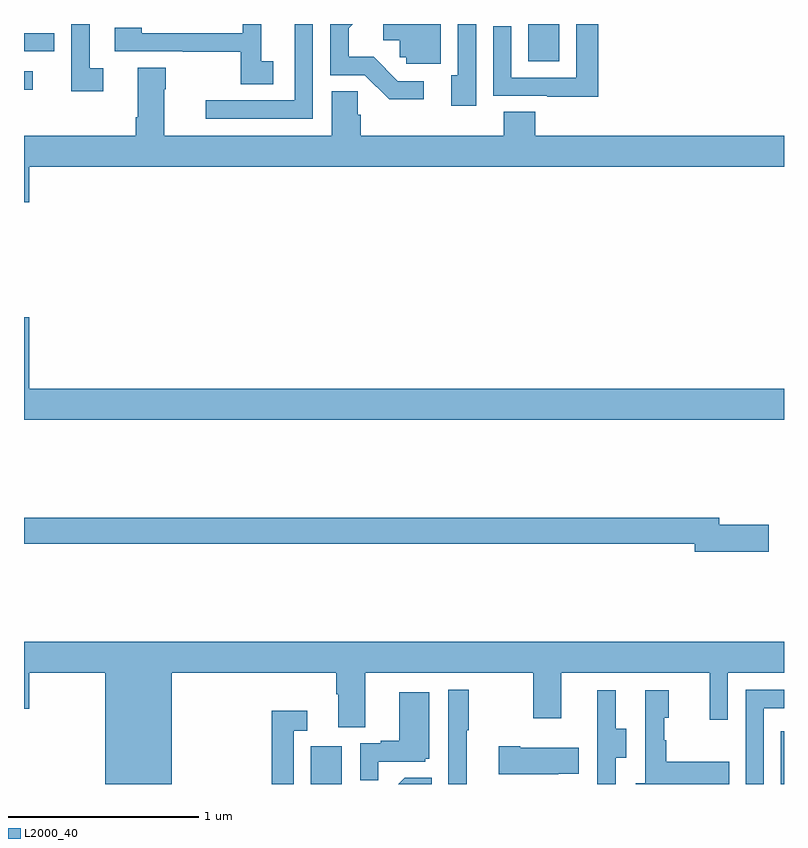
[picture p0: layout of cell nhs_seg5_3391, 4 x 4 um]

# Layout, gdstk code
import gdstk
lib = gdstk.Library(unit=1e-6, precision=1e-09)
def R(c, l, rs):  # rectangles x0, y0, x1, y1
    for r in rs: c.add(gdstk.rectangle(r[:2], r[2:], *l))
def P(c, l, *ps):  # polygons
    for p in ps: c.add(gdstk.Polygon(p, *l))
L2000_40 = (2000, 40)

nhs_seg5_3391 = lib.new_cell('nhs_seg5_3391')
R(nhs_seg5_3391, L2000_40, [(310.508,898.799,310.672,898.999), (312.984,898.799,313,899.076), (309,902.452,309.046,902.55), (311.654,902.602,311.818,902.799)])
P(nhs_seg5_3391, L2000_40, [(311.379,902.799),(311.283,902.799),(311.283,902.53),(311.249,902.53),(311.249,902.37),(311.379,902.37)],
  [(310.521,902.799),(310.424,902.799),(310.424,902.397),(309.957,902.397),(309.957,902.301),(310.521,902.301)],
  [(309.418,902.565),(309.346,902.565),(309.346,902.799),(309.249,902.799),(309.249,902.445),(309.418,902.445)],
  [(310.312,902.604),(310.248,902.604),(310.248,902.799),(310.152,902.799),(310.152,902.751),(309.621,902.751),(309.621,902.779),(309.477,902.779),(309.477,902.655),(309.835,902.655),(309.835,902.653),(310.14,902.653),(310.14,902.482),(310.312,902.482)],
  [(312.023,902.799),(311.907,902.799),(311.907,902.517),(311.565,902.517),(311.565,902.788),(311.469,902.788),(311.469,902.421),(311.753,902.421),(311.753,902.417),(312.023,902.417)],
  [(311.194,902.799),(310.89,902.799),(310.89,902.714),(310.977,902.714),(310.977,902.625),(311.013,902.625),(311.013,902.589),(311.194,902.589)],
  [(311.104,902.499),(310.968,902.499),(310.841,902.626),(310.708,902.626),(310.708,902.776),(310.731,902.799),(310.611,902.799),(310.611,902.529),(310.794,902.529),(310.922,902.402),(311.104,902.402)],
  [(309.16,902.75),(309.047,902.75),(309.047,902.751),(309,902.751),(309,902.655),(309.16,902.655)],
  [(309.028,902.048),(313,902.048),(313,902.212),(311.69,902.212),(311.69,902.336),(311.525,902.336),(311.525,902.212),(310.772,902.212),(310.772,902.322),(310.757,902.322),(310.757,902.444),(310.619,902.444),(310.619,902.212),(309.739,902.212),(309.739,902.456),(309.747,902.456),(309.747,902.569),(309.599,902.569),(309.599,902.308),(309.587,902.308),(309.587,902.212),(309,902.212),(309,901.86),(309.028,901.86)],
  [(313,900.88),(309.028,900.88),(309.028,901.255),(309,901.255),(309,900.716),(313,900.716)],
  [(312.919,900.164),(312.658,900.164),(312.658,900.2),(309,900.2),(309,900.064),(312.53,900.064),(312.53,900.022),(312.919,900.022)],
  [(309.778,899.384),(310.643,899.384),(310.643,899.272),(310.655,899.272),(310.655,899.098),(310.795,899.098),(310.795,899.384),(311.68,899.384),(311.68,899.145),(311.827,899.145),(311.827,899.384),(312.608,899.384),(312.608,899.136),(312.705,899.136),(312.705,899.384),(313,899.384),(313,899.548),(309,899.548),(309,899.196),(309.028,899.196),(309.028,899.384),(309.428,899.384),(309.428,898.799),(309.778,898.799)],
  [(311.329,899.083),(311.341,899.083),(311.341,899.296),(311.232,899.296),(311.232,898.799),(311.329,898.799)],
  [(312.894,899.199),(313,899.199),(313,899.295),(312.798,899.295),(312.798,898.799),(312.894,898.799)],
  [(312.114,898.936),(312.169,898.936),(312.169,899.091),(312.115,899.091),(312.115,899.293),(312.017,899.293),(312.017,899.079),(312.018,899.079),(312.018,898.799),(312.114,898.799)],
  [(312.713,898.915),(312.379,898.915),(312.379,899.03),(312.369,899.03),(312.369,899.148),(312.394,899.148),(312.394,899.293),(312.27,899.293),(312.27,898.802),(312.219,898.802),(312.219,898.799),(312.713,898.799)],
  [(310.865,898.917),(311.112,898.917),(311.112,898.932),(311.134,898.932),(311.134,899.281),(310.976,899.281),(310.976,899.026),(310.877,899.026),(310.877,899.013),(310.77,899.013),(310.77,898.819),(310.865,898.819)],
  [(310.419,899.079),(310.492,899.079),(310.492,899.185),(310.303,899.185),(310.303,898.799),(310.419,898.799)],
  [(311.813,898.853),(311.921,898.853),(311.921,898.99),(311.611,898.99),(311.611,898.998),(311.499,898.998),(311.499,898.85),(311.813,898.85)],
  [(311.147,898.832),(311.003,898.832),(310.97,898.799),(311.147,898.799)])

lib.write_gds('nhs_seg5_3391.gds')
